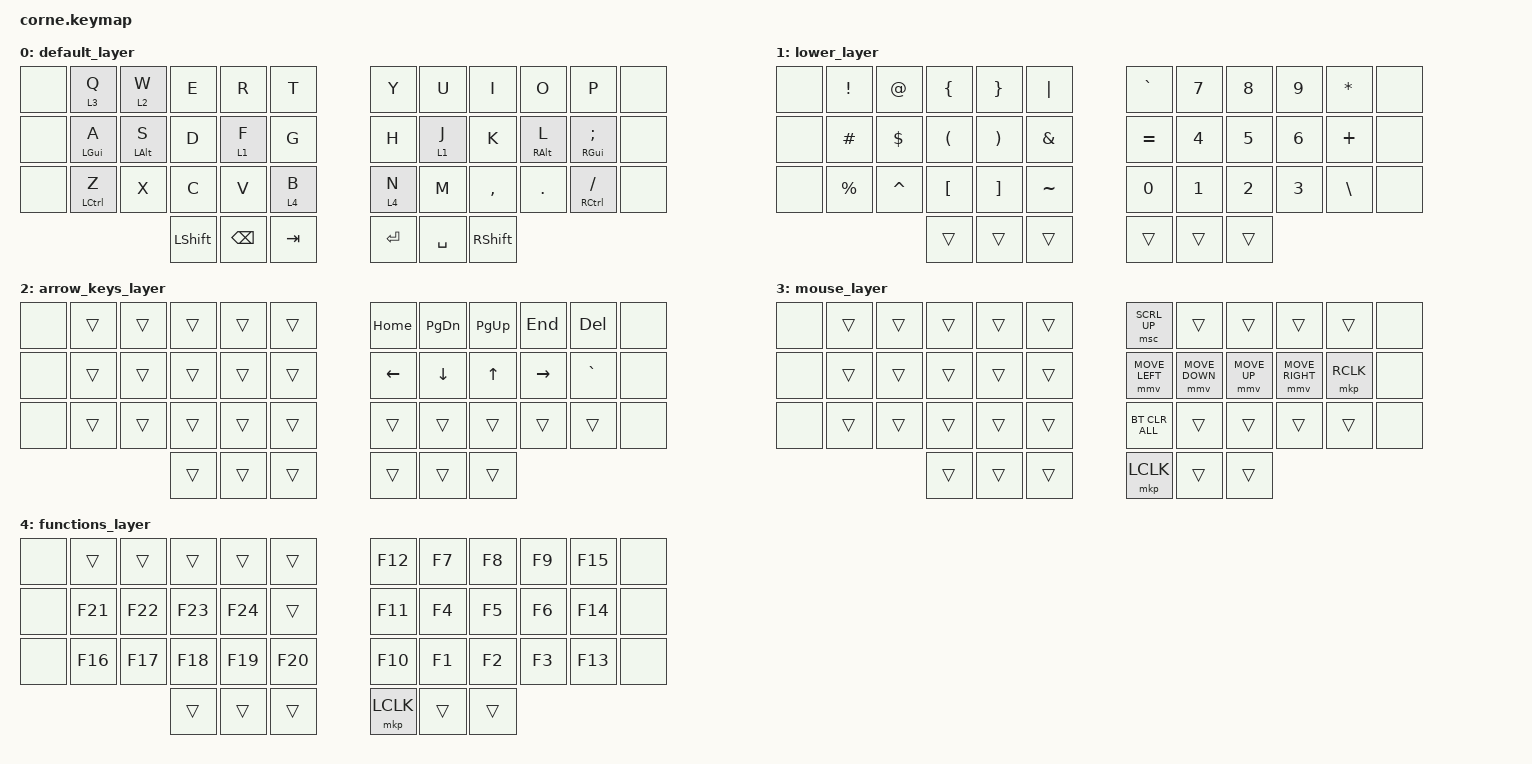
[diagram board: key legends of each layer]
/*
 * Copyright (c) 2020 The ZMK Contributors
 *
 * SPDX-License-Identifier: MIT
 */

#include <behaviors.dtsi>
#include <dt-bindings/zmk/keys.h>
#include <dt-bindings/zmk/bt.h>
#include <dt-bindings/zmk/mouse.h>
#include <dt-bindings/zmk/bt.h>
#include <behaviors/mouse_keys.dtsi>

&mt {
    tapping-term-ms = <200>;
    quick_tap_ms = <0>;
    flavor = "tap-preferred";
};

&lt {
    tapping-term-ms = <200>;
    quick_tap_ms = <0>;
    flavor = "tap-preferred";
};

&caps_word {
    continue-list = <UNDERSCORE MINUS SPACE BSPC RET>;
};
// 1  2  3  4  5     6  7  8  9  10 
// 13 14 15 16 17    18 19 20 21 22
// 25 26 27 28 29    30 31 32 33 34
//       36 37 38    39 40 41 

/ {
  combos {
    compatible = "zmk,combos";
    combo_esc {
      timeout-ms = <50>;
      key-positions = <19 20>;
      bindings = <&kp ESC>;
    };
    combo_minus {
      timeout-ms = <50>;
      key-positions = <15 16>;
      bindings = <&kp MINUS>;
    };
    combo_underscore {
      timeout-ms = <50>;
      key-positions = <27 28>;
      bindings = <&kp UNDERSCORE>;
    };
    combo_caps {
      timeout-ms = <50>;
      key-positions = <36 41>;
      bindings = <&caps_word>;
    };
    combo_single_quotes {
      timeout-ms = <50>;
      key-positions = <31 32>;
      bindings = <&kp SQT>;
    };
    combo_double_quotes {
      timeout-ms = <50>;
      key-positions = <7 8>;
      bindings = <&kp DQT>;
    };
    combo_tmux {
      timeout-ms = <50>;
      key-positions = <16 19>;
      bindings = <&tmux_bind>;
    };
  };

macros {
        tmux_bind: tmux_bind {
            compatible = "zmk,behavior-macro";
            #binding-cells = <0>;
            bindings
                = <&macro_press &kp LCTRL>
                , <&macro_tap &kp A>
                , <&macro_release &kp LCTRL>
                ;
        };
    };
        keymap {
                compatible = "zmk,keymap";

                default_layer {
                        bindings = <
   &none  &lt 3 Q     &lt 2 W    &kp E &kp R   &kp T   &kp Y    &kp U   &kp I     &kp O        &kp P           &none 
   &none  &mt LGUI A  &mt LALT S &kp D &lt 1 F &kp G   &kp H    &lt 1 J &kp K     &mt RALT L   &mt RGUI SEMI   &none 
   &none  &mt LCTRL Z &kp X      &kp C &kp V   &lt 4 B &lt 4 N  &kp M   &kp COMMA &kp DOT      &mt RCTRL FSLH  &none 
                  &kp LSHFT &kp BSPC &kp TAB   &kp RET &kp SPACE &kp RSHFT
                        >;
                 };
                lower_layer {
                        bindings = <
   &none   &kp EXCL    &kp AT    &kp LBRC  &kp RBRC       &kp PIPE  &kp GRAVE   &kp N7 &kp N8 &kp N9    &kp STAR      &none 
   &none   &kp HASH    &kp DLLR  &kp LPAR  &kp RPAR       &kp AMPS  &kp EQUAL   &kp N4 &kp N5 &kp N6    &kp PLUS      &none 
   &none   &kp PERCENT &kp CARET &kp LBKT  &kp RBKT       &kp TILDE &kp N0      &kp N1 &kp N2 &kp N3    &kp BACKSLASH &none 
                                    &trans     &trans       &trans       &trans  &trans   &trans
                        >;
                };

                arrow_keys_layer {
                        bindings = <
   &none  &trans  &trans &trans   &trans   &trans      &kp HOME  &kp PG_DN  &kp PG_UP &kp END   &kp DEL &none
   &none  &trans  &trans &trans   &trans   &trans      &kp LEFT  &kp DOWN   &kp UP    &kp RIGHT &kp GRAVE &none
   &none  &trans  &trans &trans   &trans   &trans      &trans    &trans     &trans    &trans    &trans   &none
                             &trans &trans   &trans    &trans   &trans    &trans
                        >;
                };

                mouse_layer {
                        bindings = <
   &none  &trans   &trans &trans   &trans   &trans      &msc SCRL_UP         &trans         &trans        &trans          &trans    &none 
   &none  &trans   &trans &trans   &trans   &trans      &mmv MOVE_LEFT &mmv MOVE_DOWN &mmv MOVE_UP  &mmv MOVE_RIGHT &mkp RCLK &none 
   &none  &trans   &trans &trans   &trans   &trans      &bt BT_CLR_ALL &trans         &trans        &trans          &trans    &none 
                             &trans &trans  &trans      &mkp LCLK      &trans &trans
                        >;
                };

                functions_layer {
                        bindings = <
   &none  &trans    &trans   &trans    &trans    &trans      &kp F12         &kp F7         &kp F8        &kp F9          &kp F15    &none 
   &none  &kp F21   &kp F22  &kp F23   &kp F24   &trans      &kp F11         &kp F4         &kp F5        &kp F6          &kp F14    &none 
   &none  &kp F16   &kp F17  &kp F18   &kp F19   &kp F20     &kp F10         &kp F1         &kp F2        &kp F3          &kp F13    &none 
                             &trans &trans  &trans      &mkp LCLK      &trans &trans
                        >;
                };
        };
};
